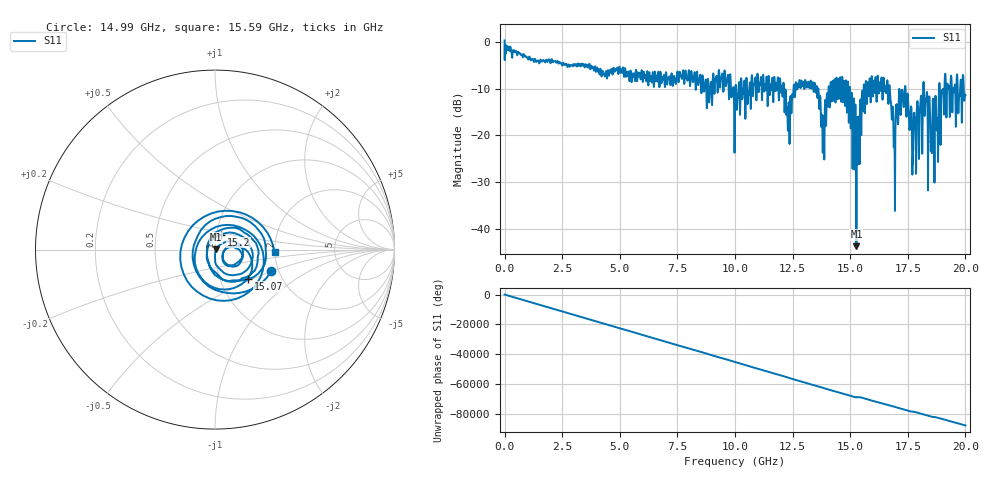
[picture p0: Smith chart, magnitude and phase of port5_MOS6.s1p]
! MS46122B
! 2250307/22442219
! 7/28/2025 2:03:39 PM
! C:\USERS\SPARKY\DOCUMENTS\VNA_DATA\JULY28_2025\3K\PORT5_MOS6.S1P
! CHANNEL.1
! TR.MEASUREMENT
! RAW.DATA
# GHZ S RI R 50.0
! FREQ.GHZ  S11RE  S11IM
!; PortSelection: Port_1
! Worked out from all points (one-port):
!   10001 points, 1 MHz to 20 GHz, reference 50 ohm
!   lowest |S11| = -43.8 dB at 15.27 GHz (marker M1), VSWR 1.01, Z = 50.6 + j0.14 ohm
!   |S11| at or under -10 dB: 14.99 GHz to 15.58 GHz (591.4 MHz wide, 3.87 % of centre); 17.4 GHz to 18.16 GHz (760.2 MHz wide, 4.28 % of centre); 18.2 GHz to 18.86 GHz (653.7 MHz wide, 3.53 % of centre) (the widest 3 of 80)
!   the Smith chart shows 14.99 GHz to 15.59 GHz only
!   S11 on the Smith chart (normalised r, x): 14.99 GHz: 1.81, -0.49; 15.07 GHz: 1.36, -0.47; 15.2 GHz: 1.06, +0.18; 15.59 GHz: 1.99, -0.06
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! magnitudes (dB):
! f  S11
! 1 MHz  0.4
! 2.501 GHz  -4.9
! 5.001 GHz  -5.6
! 7.501 GHz  -6.3
! 9.619 GHz  -9.0
! 10 GHz  -13.4
! 11.05 GHz  -9.2
! 12.03 GHz  -9.3
! 12.31 GHz  -16.7
! 12.5 GHz  -11.3
! 13.38 GHz  -8.6
! 13.81 GHz  -23.2
! 14.23 GHz  -8.3
! 14.99 GHz  -9.6
! 15 GHz  -11.6
! 15.07 GHz  -12.1
! 15.2 GHz  -20.8
! 15.27 GHz  -43.8
! 15.59 GHz  -9.6
! 16.53 GHz  -9.4
! 16.88 GHz  -20.7
! 17.2 GHz  -15.3
! 17.5 GHz  -11.3
! 17.78 GHz  -15.4
! 18.25 GHz  -13.7
! 18.57 GHz  -15.3
! 19.05 GHz  -12.2
! 20 GHz  -11.4
